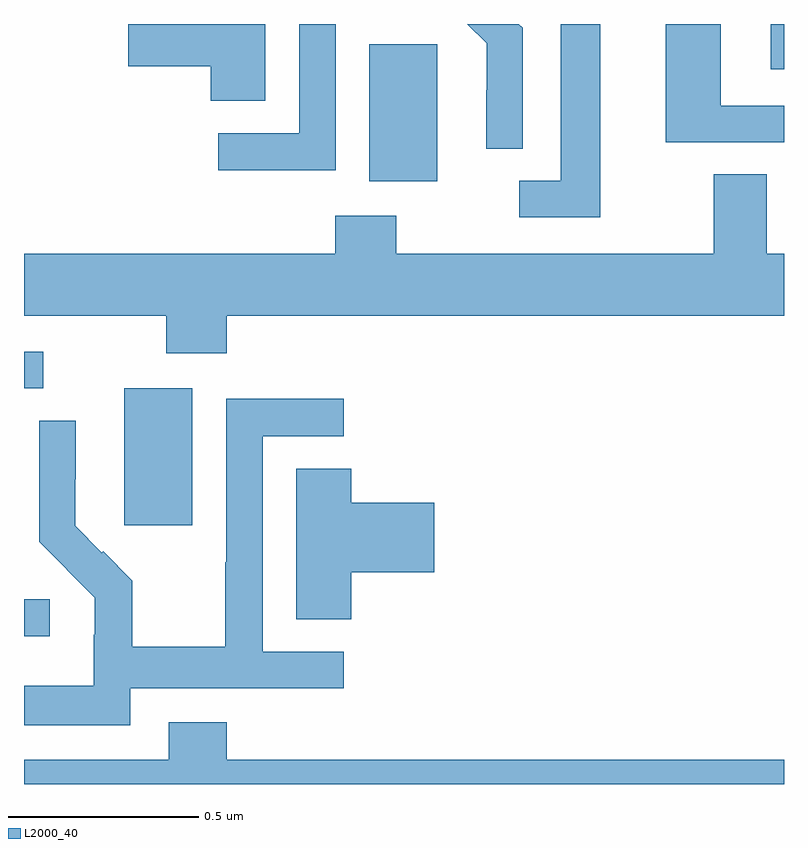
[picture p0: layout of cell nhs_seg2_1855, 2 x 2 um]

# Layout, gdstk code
import gdstk
lib = gdstk.Library(unit=1e-6, precision=1e-09)
def R(c, l, rs):  # rectangles x0, y0, x1, y1
    for r in rs: c.add(gdstk.rectangle(r[:2], r[2:], *l))
def P(c, l, *ps):  # polygons
    for p in ps: c.add(gdstk.Polygon(p, *l))
L2000_40 = (2000, 40)

nhs_seg2_1855 = lib.new_cell('nhs_seg2_1855')
R(nhs_seg2_1855, L2000_40, [(134,584.189,134.068,584.286), (134.264,584.481,134.443,584.842), (134,584.841,134.05,584.937), (134.909,585.386,135.088,585.747), (135.965,585.681,136,585.8)])
P(nhs_seg2_1855, L2000_40, [(134.635,585.8),(134.274,585.8),(134.274,585.689),(134.492,585.689),(134.492,585.598),(134.635,585.598)],
  [(134.82,585.8),(134.724,585.8),(134.724,585.513),(134.511,585.513),(134.511,585.415),(134.82,585.415)],
  [(135.312,585.79),(135.302,585.8),(135.166,585.8),(135.218,585.749),(135.218,585.626),(135.216,585.626),(135.216,585.472),(135.312,585.472)],
  [(136,585.585),(135.834,585.585),(135.834,585.8),(135.689,585.8),(135.689,585.489),(136,585.489)],
  [(135.517,585.8),(135.413,585.8),(135.413,585.387),(135.303,585.387),(135.303,585.291),(135.517,585.291)],
  [(134.534,585.032),(136,585.032),(136,585.196),(135.955,585.196),(135.955,585.404),(135.815,585.404),(135.815,585.196),(134.979,585.196),(134.979,585.295),(134.819,585.295),(134.819,585.196),(134,585.196),(134,585.032),(134.374,585.032),(134.374,584.933),(134.534,584.933)],
  [(134.28,584.052),(134.842,584.052),(134.842,584.148),(134.628,584.148),(134.628,584.715),(134.842,584.715),(134.842,584.814),(134.532,584.814),(134.532,584.384),(134.53,584.384),(134.53,584.161),(134.285,584.161),(134.285,584.335),(134.208,584.412),(134.205,584.409),(134.135,584.48),(134.135,584.602),(134.136,584.602),(134.136,584.756),(134.04,584.756),(134.04,584.438),(134.113,584.365),(134.112,584.364),(134.186,584.29),(134.186,584.193),(134.184,584.193),(134.184,584.059),(134,584.059),(134,583.955),(134.28,583.955)],
  [(134.861,584.357),(135.079,584.357),(135.079,584.54),(134.861,584.54),(134.861,584.63),(134.717,584.63),(134.717,584.233),(134.861,584.233)],
  [(136,583.864),(134.534,583.864),(134.534,583.963),(134.381,583.963),(134.381,583.864),(134,583.864),(134,583.8),(136,583.8)])

lib.write_gds('nhs_seg2_1855.gds')
